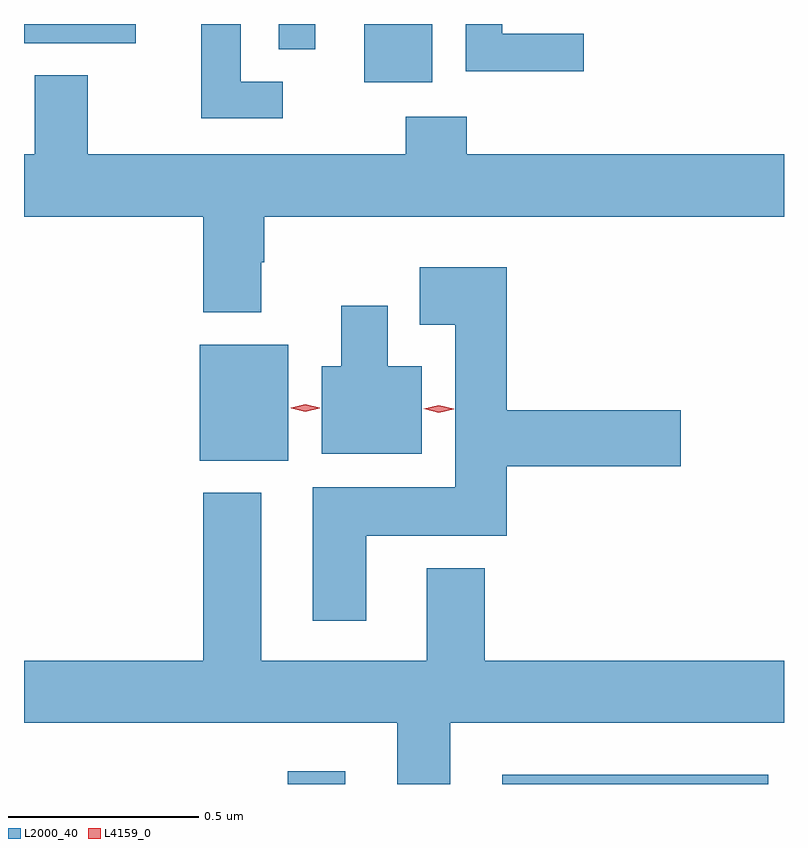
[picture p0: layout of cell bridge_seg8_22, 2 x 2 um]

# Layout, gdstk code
import gdstk
lib = gdstk.Library(unit=1e-6, precision=1e-09)
def R(c, l, rs):  # rectangles x0, y0, x1, y1
    for r in rs: c.add(gdstk.rectangle(r[:2], r[2:], *l))
def P(c, l, *ps):  # polygons
    for p in ps: c.add(gdstk.Polygon(p, *l))
L2000_40 = (2000, 40)
L4159_0 = (4159, 0)

bridge_seg8_22 = lib.new_cell('bridge_seg8_22')
R(bridge_seg8_22, L2000_40, [(899.963,1148.307,900.115,1148.341), (900.527,1148.307,901.228,1148.332), (899.732,1149.158,899.965,1149.463), (900.164,1150.154,900.343,1150.307), (899.94,1150.24,900.036,1150.307), (899.269,1150.257,899.563,1150.307)])
P(bridge_seg8_22, L2000_40, [(899.95,1150.155),(899.839,1150.155),(899.839,1150.307),(899.735,1150.307),(899.735,1150.059),(899.95,1150.059)],
  [(900.742,1150.281),(900.528,1150.281),(900.528,1150.307),(900.432,1150.307),(900.432,1150.183),(900.742,1150.183)],
  [(899.893,1149.68),(899.901,1149.68),(899.901,1149.8),(901.269,1149.8),(901.269,1149.964),(900.434,1149.964),(900.434,1150.063),(900.274,1150.063),(900.274,1149.964),(899.437,1149.964),(899.437,1150.172),(899.297,1150.172),(899.297,1149.964),(899.269,1149.964),(899.269,1149.8),(899.741,1149.8),(899.741,1149.548),(899.893,1149.548)],
  [(900.169,1148.96),(900.539,1148.96),(900.539,1149.143),(900.997,1149.143),(900.997,1149.29),(900.539,1149.29),(900.539,1149.667),(900.311,1149.667),(900.311,1149.515),(900.404,1149.515),(900.404,1149.088),(900.029,1149.088),(900.029,1148.736),(900.169,1148.736)],
  [(900.316,1149.406),(900.226,1149.406),(900.226,1149.565),(900.104,1149.565),(900.104,1149.406),(900.053,1149.406),(900.053,1149.176),(900.316,1149.176)],
  [(900.391,1148.468),(901.269,1148.468),(901.269,1148.632),(900.482,1148.632),(900.482,1148.875),(900.329,1148.875),(900.329,1148.632),(899.893,1148.632),(899.893,1149.073),(899.741,1149.073),(899.741,1148.632),(899.269,1148.632),(899.269,1148.468),(900.251,1148.468),(900.251,1148.307),(900.391,1148.307)])
P(bridge_seg8_22, L4159_0, [(900.36,1149.284),(900.321,1149.294),(900.321,1149.294),(900.321,1149.294),(900.361,1149.304),(900.4,1149.294),(900.4,1149.293),(900.4,1149.293)],
  [(900.009,1149.287),(899.972,1149.296),(899.971,1149.297),(899.972,1149.297),(900.009,1149.307),(900.047,1149.297),(900.047,1149.297),(900.047,1149.296)])

lib.write_gds('bridge_seg8_22.gds')
